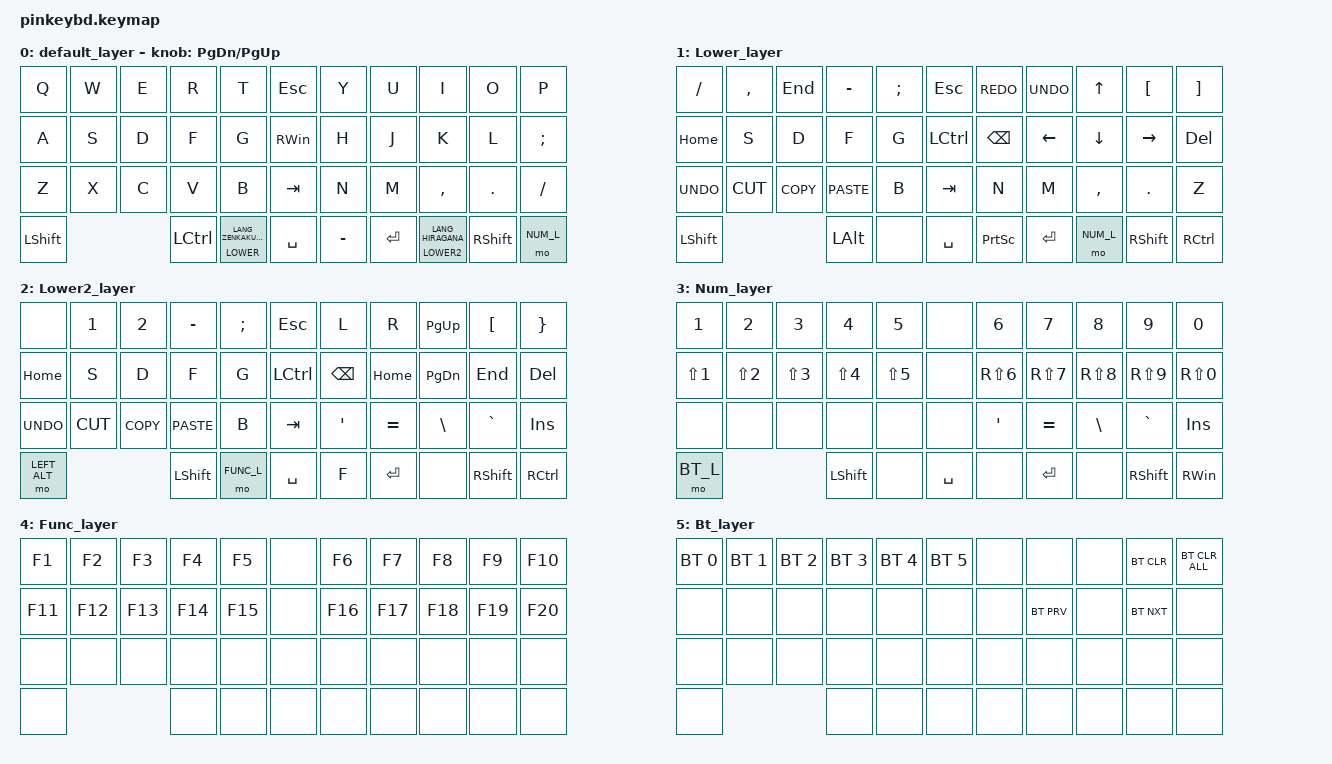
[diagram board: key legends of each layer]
#include <behaviors.dtsi>
#include <dt-bindings/zmk/bt.h>
#include "pinkeybd-layer.dtsi"

#define ZMK_POINTING_DEFAULT_SCRL_VAL 80

//
&lt {
    tapping-term-ms = <140>;
};

/ {
    behaviors {
        rot_kp: sensor_rotate_kp {
            compatible = "zmk,behavior-sensor-rotate-var";
            #sensor-binding-cells = <2>;
            bindings = <&kp>, <&kp>;
        };
    };

    keymap {
        compatible = "zmk,keymap";

            // -------------------------------------------------------------------------------------------------------------------------------------------------------------------------------------
            // |      /      |      ,     |      .     |      -     |      ;     |    ESC     |                |            |      L      |      R      |      D      |      Y      |      P      |
            // |      A      |      O     |      E     |      I     |      U     |    LCTRL   |                |            |      G      |      N      |      T      |      S      |      K      |
            // |      X      |      C     |      V     |      W     |      Q     |    TAB     |                |      F     |      J      |      H      |      M      |      B      |      Z      |
            // |    L_ALT    |            |            |    LSIHT   | LOWER / En |    Space   |                |   ENTER    | LOWER2 / Ja |   R_SHIFT   |             |             |   NUMFUN_L  |
            // -------------------------------------------------------------------------------------------------------------------------------------------------------------------------------------
        default_layer {
            bindings = <
                &kp Q        &kp W        &kp E        &kp R        &kp T        &kp ESC                        &kp Y        &kp U        &kp I        &kp O        &kp P
                &kp A        &kp S        &kp D        &kp F        &kp G        &kp RIGHT_WIN                  &kp H        &kp J        &kp K        &kp L        &kp SEMI
                &kp Z        &kp X        &kp C        &kp V        &kp B        &kp TAB                        &kp N        &kp M        &kp COMMA    &kp DOT      &kp FSLH
                &kp LSHIFT                             &kp LCTRL &lt LOWER LANG_ZENKAKUHANKAKU &kp SPACE &kp MINUS &kp ENTER &lt LOWER2 LANG_HIRAGANA     &kp RSHIFT   &mo NUM_L
            >;
            sensor-bindings = <&rot_kp PG_DN PG_UP>;
        };
    
            // -------------------------------------------------------------------------------------------------------------------------------------------------------------------------------------
            // |     /       |      ,     |    END     |     -      |     ;      |    ESC     |                |            |   K_REDO    |   K_UNDO    |      ↑      |     [       |      ]      |
            // |     HOME    | C_AC_SAVE  |     D      |     F      |     G      |    LCTRL   |                |            |  Backspace  |      ←      |      ↓      |     →       |     DEL     |
            // |     UNDO    |    CUT     |   COPY     |   PASTE    |     B      |    TAB     |                |   PSCRN    |      N      |      M      |      ,      |     .       |      Z      |
            // |     L_SHIFT |            |            |  L_SHIFT   |    none    |    Space   |                |   ENTER    |   NUMFUN_L  |   R_SHIFT   |             |             |    R_CTR    |
            // -------------------------------------------------------------------------------------------------------------------------------------------------------------------------------------
        Lower_layer {
            bindings = <
                &kp FSLH     &kp COMMA    &kp END      &kp MINUS    &kp SEMI     &kp ESC                        &kp K_REDO   &kp K_UNDO   &kp UP       &kp LBKT     &kp RBKT
                &kp HOME     &kp S        &kp D        &kp F        &kp G        &kp LCTRL                      &kp BSPC     &kp LEFT     &kp DOWN     &kp RIGHT    &kp DEL
                &kp K_UNDO   &kp K_CUT    &kp K_COPY   &kp K_PASTE  &kp B        &kp TAB                        &kp N        &kp M        &kp COMMA    &kp DOT      &kp Z
                &kp LSHIFT                             &kp LEFT_ALT &none      &kp SPACE            &kp PSCRN   &kp ENTER    &mo NUM_L    &kp RSHIFT                &kp RIGHT_CONTROL
            >;
        };

            // -------------------------------------------------------------------------------------------------------------------------------------------------------------------------------------
            // |     /       |      ,     |    END     |     -      |     ;      |    ESC     |                |            |      L      |      R      |    PG_UP    |     {       |      }      |
            // |     HOME    |      O     |      E     |     I      |     U      |    LCTRL   |                |            |  Backspace  |    HOME     |    PG_DN    |    END      |    DEL      |
            // |     UNDO    |    CUT     |   COPY     |   PASTE    |     Q      |    TAB     |                |      F     |    ' / "    |    = / +    |    \ / |    |    ` / ~    |    INS      |
            // |     L_ALT   |            |            |   LSIHT    |   UTL_L    |    Space   |                |   ENTER    |    none     |   R_SHIFT   |             |             |   R_CTR     |
            // -------------------------------------------------------------------------------------------------------------------------------------------------------------------------------------
        Lower2_layer {
            bindings = <
                &none        &kp N1       &kp N2       &kp MINUS    &kp SEMI     &kp ESC                        &kp L        &kp R        &kp PG_UP       &kp LBKT     &kp RBRC
                &kp HOME     &kp S        &kp D        &kp F        &kp G        &kp LCTRL                      &kp BSPC     &kp HOME     &kp PG_DN       &kp END      &kp DEL
                &kp K_UNDO   &kp K_CUT    &kp K_COPY   &kp K_PASTE  &kp B        &kp TAB                        &kp APOS     &kp EQUAL    &kp BSLH        &kp GRAVE    &kp INS
                &mo LEFT_ALT                           &kp LEFT_SHIFT &mo FUNC_L &kp SPACE         &kp F        &kp ENTER    &none        &kp RSHIFT                   &kp RIGHT_CONTROL
            >;
        };

            // -------------------------------------------------------------------------------------------------------------------------------------------------------------------------------------
            // |    1 / !    |    2 / @   |    3 / #   |    4 / $   |   5 / %    |    none    |                |            |   6 / ^     |    7 / &    |    8 / *    |   9 / (     |    0 / )    | 
            // |     F1      |     F2     |     F3     |     F4     |    F5      |    none    |                |            |    F6       |     F7      |     F8      |    F9       |     F10     |
            // |     F11     |     F12    |     F13    |     F14    |    F15     |    none    |                |   none     |    F16      |     F17     |     F18     |    F19      |     F20     |
            // |     BT_L    |            |            |    LSIHT   | En / LOWER |    Space   |                |   ENTER    | Ja / LOWER2 |   R_SHIFT   |             |             |  RIGHT_WIN  |
            // -------------------------------------------------------------------------------------------------------------------------------------------------------------------------------------
        Num_layer {
            bindings = <
                &kp N1       &kp N2       &kp N3       &kp N4        &kp N5      &none                          &kp N6       &kp N7      &kp N8     &kp N9      &kp N0
                &kp LS(N1)   &kp LS(N2)   &kp LS(N3)   &kp LS(N4)    &kp LS(N5)  &none                          &kp RS(N6)   &kp RS(N7)  &kp RS(N8) &kp RS(N9)  &kp RS(N0)
                &none        &none        &none        &none         &none       &none                          &kp APOS     &kp EQUAL   &kp BSLH   &kp GRAVE   &kp INS
                &mo BT_L                               &kp LEFT_SHIFT  &none     &kp SPACE          &none       &kp ENTER    &none       &kp RSHIFT             &kp RIGHT_WIN
            >;
        };
            // ---------------------------------------------------------------------------------------------------------------------------------------------------------------------------------
            // |     F1      |     F2     |     F3     |     F4     |    F5      |    none    |                |            |    F6      |    F7      |    F8      |    F9       |     F10     |
            // |     F11     |     F12    |     F13    |     F14    |    F15     |    none    |                |   none     |    F16     |    F17     |    F18     |    F19      |     F20     |
            // |     none    |    none    |    none    |    none    |   none     |    none    |                |   none     |    none    |    none    |    none    |    none     |     none    |
            // |     none    |    none    |    none    |    none    |   none     |    none    |                |   none     |    none    |    none    |    none    |    none     |     none    |
            // ---------------------------------------------------------------------------------------------------------------------------------------------------------------------------------
        Func_layer {
            bindings = <
                &kp F1       &kp F2       &kp F3       &kp F4        &kp F5      &none                        &kp F6       &kp F7       &kp F8     &kp F9      &kp F10
                &kp F11      &kp F12      &kp F13      &kp F14       &kp F15     &none                        &kp F16      &kp F17      &kp F18    &kp F19     &kp F20
                &none        &none        &none        &none         &none        &none                       &none        &none        &none      &none       &none
                &none                                  &none         &none        &none             &none     &none        &none        &none                  &none
            >;
        };
            // --------------------------------------------------------------------------------------------------------------------------------------------------------------------------------
            // |    none    |    none    |    none    |    none    |   none     |    none    |                  |            |    none    |    none    |    none    |   none     |    none    |
            // |  BT_SEL 0  |  BT_SEL 1  |  BT_SEL 2  |  BT_SEL 3  |   none     |    none    |                  |            |    none    |    none    |    none    |   BT_CLR   | BT_CLR_ALL |
            // |    none    |    none    |    none    |    none    |   none     |    none    |                  |    none    |    none    |   BT_PRV   |    none    |   BT_NXT   |    none    |
            // |    none    |    none    |    none    |    none    |   none     |    none    |                  |    none    |    none    |    none    |    none    |   none     |    none    |
            // --------------------------------------------------------------------------------------------------------------------------------------------------------------------------------
        Bt_layer {
            bindings = <
                &bt BT_SEL 0 &bt BT_SEL 1 &bt BT_SEL 2 &bt BT_SEL 3  &bt BT_SEL 4 &bt BT_SEL 5                  &none        &none        &none        &bt BT_CLR   &bt BT_CLR_ALL
                &none        &none        &none        &none         &none        &none                         &none        &bt BT_PRV   &none        &bt BT_NXT   &none
                &none        &none        &none        &none         &none        &none                         &none        &none        &none        &none        &none
                &none                                  &none         &none        &none             &none       &none        &none        &none                     &none
            >;
        };
    };
};
